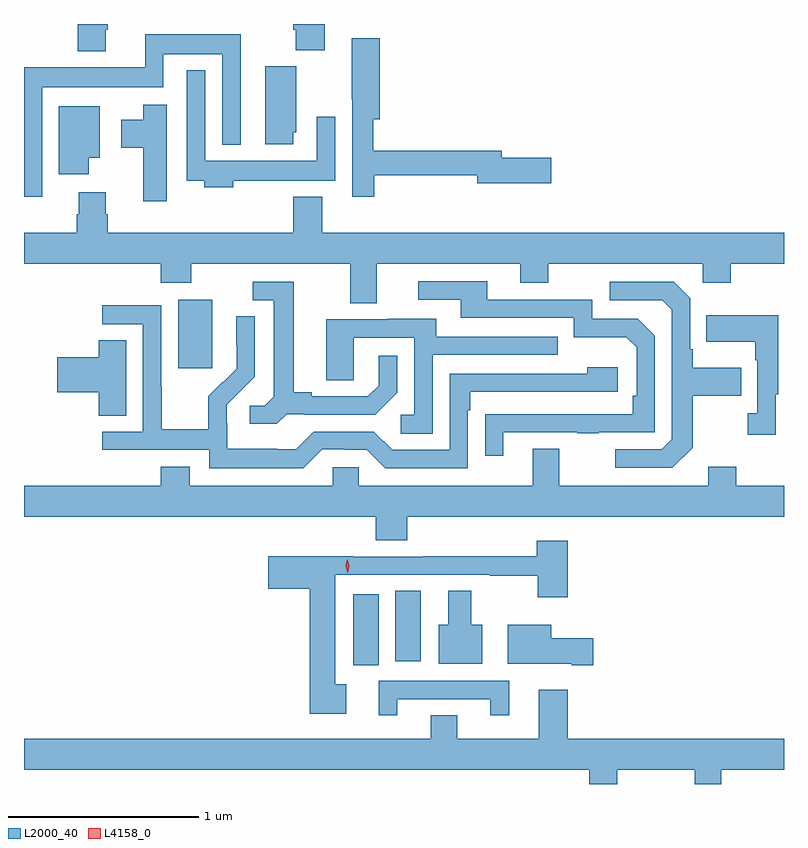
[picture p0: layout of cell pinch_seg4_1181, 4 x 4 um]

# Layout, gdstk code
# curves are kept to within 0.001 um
import gdstk
lib = gdstk.Library(unit=1e-6, precision=1e-09)
def R(c, l, rs):  # rectangles x0, y0, x1, y1
    for r in rs: c.add(gdstk.rectangle(r[:2], r[2:], *l))
def P(c, l, *ps):  # polygons
    for p in ps: c.add(gdstk.Polygon(p, *l))
L2000_40 = (2000, 40)
L4158_0 = (4158, 0)

pinch_seg4_1181 = lib.new_cell('pinch_seg4_1181')
R(pinch_seg4_1181, L2000_40, [(624.896,785.382,625.03,785.758), (625.118,785.403,625.252,785.774), (623.975,786.945,624.154,787.306)])
P(pinch_seg4_1181, L2000_40, [(624.746,788.758),(624.581,788.758),(624.581,788.729),(624.593,788.729),(624.593,788.62),(624.746,788.62)],
  [(623.593,788.727),(623.606,788.727),(623.606,788.758),(623.446,788.758),(623.446,788.615),(623.593,788.615)],
  [(623.259,788.426),(623.898,788.426),(623.898,788.6),(624.207,788.6),(624.207,788.123),(624.304,788.123),(624.304,788.704),(623.801,788.704),(623.801,788.53),(623.164,788.53),(623.164,787.848),(623.259,787.848)],
  [(625.007,787.962),(625.55,787.962),(625.55,787.919),(625.939,787.919),(625.939,788.054),(625.678,788.054),(625.678,788.09),(625.003,788.09),(625.003,788.258),(625.037,788.258),(625.037,788.683),(624.89,788.683),(624.89,788.362),(624.891,788.362),(624.891,787.848),(625.007,787.848)],
  [(624.58,788.187),(624.598,788.187),(624.598,788.535),(624.434,788.535),(624.434,788.124),(624.58,788.124)],
  [(624.266,787.932),(624.497,787.932),(624.497,787.934),(624.801,787.934),(624.801,788.269),(624.705,788.269),(624.705,788.038),(624.117,788.038),(624.117,788.515),(624.021,788.515),(624.021,787.932),(624.113,787.932),(624.113,787.898),(624.266,787.898)],
  [(623.914,788.332),(623.792,788.332),(623.792,788.254),(623.675,788.254),(623.675,788.107),(623.792,788.107),(623.792,787.824),(623.914,787.824)],
  [(623.506,788.054),(623.563,788.054),(623.563,788.326),(623.348,788.326),(623.348,787.968),(623.506,787.968)],
  [(625.021,787.496),(625.775,787.496),(625.775,787.397),(625.923,787.397),(625.923,787.496),(626.736,787.496),(626.736,787.397),(626.883,787.397),(626.883,787.496),(627.164,787.496),(627.164,787.66),(624.733,787.66),(624.733,787.849),(624.581,787.849),(624.581,787.66),(623.606,787.66),(623.606,787.758),(623.593,787.758),(623.593,787.873),(623.453,787.873),(623.453,787.758),(623.441,787.758),(623.441,787.66),(623.164,787.66),(623.164,787.496),(623.885,787.496),(623.885,787.397),(624.045,787.397),(624.045,787.496),(624.881,787.496),(624.881,787.288),(625.021,787.288)],
  [(625.687,786.609),(626.077,786.609),(626.077,786.604),(626.189,786.604),(626.189,786.609),(626.484,786.609),(626.484,787.116),(626.394,787.206),(626.154,787.206),(626.154,787.308),(625.603,787.308),(625.603,787.404),(625.239,787.404),(625.239,787.308),(625.463,787.308),(625.463,787.212),(626.058,787.212),(626.058,787.109),(626.335,787.109),(626.388,787.056),(626.388,786.802),(626.368,786.802),(626.368,786.705),(625.591,786.704),(625.591,786.486),(625.687,786.486)],
  [(624.546,786.705),(624.64,786.705),(624.64,786.702),(625.012,786.702),(625.128,786.818),(625.128,787.012),(625.031,787.012),(625.031,786.855),(624.974,786.798),(624.679,786.798),(624.679,786.821),(624.583,786.821),(624.583,787.401),(624.369,787.401),(624.369,787.305),(624.479,787.305),(624.479,786.797),(624.432,786.75),(624.351,786.75),(624.351,786.653),(624.494,786.653)],
  [(626.683,786.529),(626.683,786.802),(626.939,786.802),(626.939,786.949),(626.683,786.949),(626.683,787.045),(626.67,787.045),(626.67,787.314),(626.583,787.401),(626.247,787.401),(626.247,787.305),(626.523,787.305),(626.574,787.254),(626.574,786.573),(626.52,786.519),(626.277,786.519),(626.277,786.423),(626.577,786.423)],
  [(624.735,786.519),(624.851,786.519),(624.851,786.516),(624.969,786.516),(625.065,786.42),(625.5,786.42),(625.5,786.725),(625.513,786.725),(625.513,786.822),(626.29,786.822),(626.29,786.952),(626.129,786.952),(626.129,786.918),(625.404,786.918),(625.404,786.516),(625.101,786.516),(625.005,786.612),(624.69,786.612),(624.597,786.519),(624.497,786.519),(624.497,786.523),(624.234,786.523),(624.234,786.657),(624.232,786.657),(624.232,786.754),(624.378,786.902),(624.378,787.22),(624.282,787.22),(624.282,787.066),(624.284,787.066),(624.284,786.944),(624.213,786.873),(624.21,786.876),(624.133,786.799),(624.133,786.625),(623.889,786.625),(623.889,786.848),(623.886,786.848),(623.886,787.278),(623.577,787.278),(623.577,787.179),(623.79,787.179),(623.79,786.612),(623.577,786.612),(623.577,786.516),(624.138,786.516),(624.138,786.419),(624.635,786.419)],
  [(627.121,786.809),(627.133,786.809),(627.133,787.225),(626.755,787.225),(626.755,787.085),(627.012,787.085),(627.012,786.989),(627.024,786.989),(627.024,786.71),(626.973,786.71),(626.973,786.597),(627.121,786.597)],
  [(625.314,787.017),(625.973,787.017),(625.973,787.113),(625.333,787.113),(625.333,787.207),(625.079,787.207),(625.079,787.203),(624.755,787.203),(624.755,786.883),(624.9,786.883),(624.9,787.107),(625.218,787.107),(625.218,786.702),(625.146,786.702),(625.146,786.601),(625.314,786.601)],
  [(623.701,787.094),(623.558,787.094),(623.558,787.004),(623.34,787.004),(623.34,786.821),(623.558,786.821),(623.558,786.697),(623.701,786.697)],
  [(625.181,786.164),(627.164,786.164),(627.164,786.328),(626.913,786.328),(626.913,786.427),(626.765,786.427),(626.765,786.328),(625.981,786.328),(625.981,786.523),(625.841,786.523),(625.841,786.328),(624.927,786.328),(624.927,786.426),(624.789,786.426),(624.789,786.328),(624.037,786.328),(624.037,786.427),(623.885,786.427),(623.885,786.328),(623.164,786.328),(623.164,786.164),(625.016,786.164),(625.016,786.04),(625.181,786.04)],
  [(624.859,785.282),(624.802,785.282),(624.802,785.859),(625.615,785.859),(625.615,785.854),(625.867,785.854),(625.867,785.742),(626.027,785.742),(626.027,786.037),(625.862,786.037),(625.862,785.957),(625.264,785.957),(625.264,785.955),(624.898,785.955),(624.898,785.957),(624.45,785.957),(624.45,785.786),(624.668,785.786),(624.668,785.129),(624.859,785.129)],
  [(625.576,785.596),(625.519,785.596),(625.519,785.774),(625.397,785.774),(625.397,785.596),(625.346,785.596),(625.346,785.39),(625.576,785.39)],
  [(626.161,785.525),(625.939,785.525),(625.939,785.596),(625.709,785.596),(625.709,785.39),(626.048,785.39),(626.048,785.383),(626.161,785.383)],
  [(625.129,785.205),(625.619,785.205),(625.619,785.121),(625.717,785.121),(625.717,785.301),(625.031,785.301),(625.031,785.121),(625.129,785.121)],
  [(626.287,784.832),(626.693,784.832),(626.693,784.758),(626.833,784.758),(626.833,784.832),(627.164,784.832),(627.164,784.996),(626.027,784.996),(626.027,785.254),(625.874,785.254),(625.874,784.996),(625.444,784.996),(625.444,785.12),(625.304,785.12),(625.304,784.996),(623.164,784.996),(623.164,784.832),(626.14,784.832),(626.14,784.758),(626.287,784.758)])
P(pinch_seg4_1181, L4158_0, [(624.868,785.87),(624.868,785.87),(624.857,785.906),(624.865,785.942),(624.865,785.942),(624.866,785.942),(624.877,785.906),(624.868,785.87)])

lib.write_gds('pinch_seg4_1181.gds')
